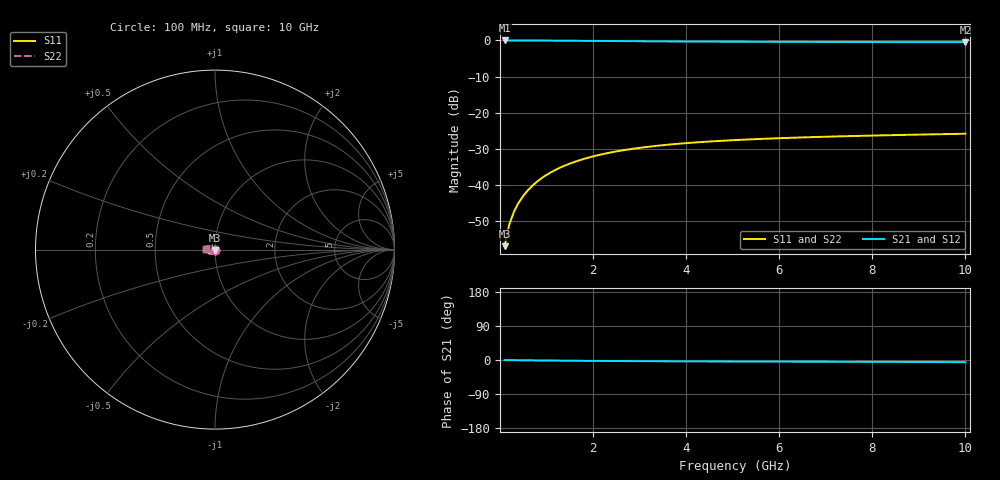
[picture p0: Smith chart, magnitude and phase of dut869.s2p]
! Touchstone file exported from HFSS 2024.1.0
!  File:  C:/UserFiles/LocalFiles/RDL_TSV_Batchsim/temp_TSV1_869_1779882720.aedt
!  Generated:  07:57:45 PM May 27, 2026
!  Design:  TSV1
!  Project:  temp_TSV1_869_1779882720
!  Setup:  Setup1
!  Solution:  Sweep
! Variables:
!  dtsv = 11.1um
!  hbump = 3um
!  htsv = 87.12um
!  lrdl = 252.1521522um
!  p = 40
!  p1 = 54.39um
!  t = 500um
!  trdl = 3um
!  wrdl = 24.89489489um
# GHz S MA R 50.000000
! Terminal data exported
! Port[1] = TSV22_T1
! Port[2] = TSV22_T2
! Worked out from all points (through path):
!   100 points, 100 MHz to 10 GHz, reference 50 ohm
!   highest |S21| = 0.00 dB at 100 MHz (marker M1); lowest = -0.5 dB at 10 GHz (marker M2)
!   lowest |S11| = -56.9 dB at 100 MHz (marker M3), VSWR 1.00, Z = 50 - j0.144 ohm
!   |S11| at or under -10 dB: start of sweep to end of sweep
!   |S22| runs from -56.9 to -25.8 dB; largest |S21 - S12| = 3.7e-15
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0.1  0.001437 -87.0  0.9998 -0.1  0.9998 -0.1  0.001437 -87.0
! Gamma 0 0 0 0
! Port Impedance 50 0 50 0
0.2  0.002866 -91.2  0.9997 -0.3  0.9997 -0.3  0.002866 -91.2
0.3  0.004293 -93.8  0.9994 -0.4  0.9994 -0.4  0.004293 -93.8
0.4  0.005714 -96.1  0.9991 -0.6  0.9991 -0.6  0.005714 -96.1
0.5  0.007124 -98.2  0.9986 -0.7  0.9986 -0.7  0.007124 -98.2
0.6  0.008518 -100.2  0.9981 -0.8  0.9981 -0.8  0.008518 -100.2
0.7  0.009892 -102.2  0.9975 -1.0  0.9975 -1.0  0.009892 -102.2
0.8  0.01124 -104.1  0.9969 -1.1  0.9969 -1.1  0.01124 -104.1
0.9  0.01257 -106.0  0.9962 -1.2  0.9962 -1.2  0.01257 -106.0
1.1  0.01513 -109.7  0.9945 -1.5  0.9945 -1.5  0.01513 -109.7
1.4  0.01873 -114.9  0.9918 -1.8  0.9918 -1.8  0.01873 -114.9
1.6  0.02096 -118.2  0.9898 -2.0  0.9898 -2.0  0.02096 -118.2
1.8  0.02305 -121.4  0.9878 -2.2  0.9878 -2.2  0.02305 -121.4
2.1  0.02592 -125.9  0.9846 -2.4  0.9846 -2.4  0.02592 -125.9
2.5  0.02927 -131.4  0.9805 -2.7  0.9805 -2.7  0.02927 -131.4
2.9  0.03215 -136.4  0.9766 -3.0  0.9766 -3.0  0.03215 -136.4
3.4  0.03517 -142.0  0.9722 -3.2  0.9722 -3.2  0.03517 -142.0
4.2  0.03896 -149.7  0.9662 -3.6  0.9662 -3.6  0.03896 -149.7
5.1  0.04215 -157.0  0.9609 -3.9  0.9609 -3.9  0.04215 -157.0
6.7  0.04614 -167.5  0.9542 -4.5  0.9542 -4.5  0.04614 -167.5
8.4  0.04913 -176.3  0.9496 -5.0  0.9496 -5.0  0.04913 -176.3
10  0.05137 176.7  0.9467 -5.6  0.9467 -5.6  0.05137 176.7
